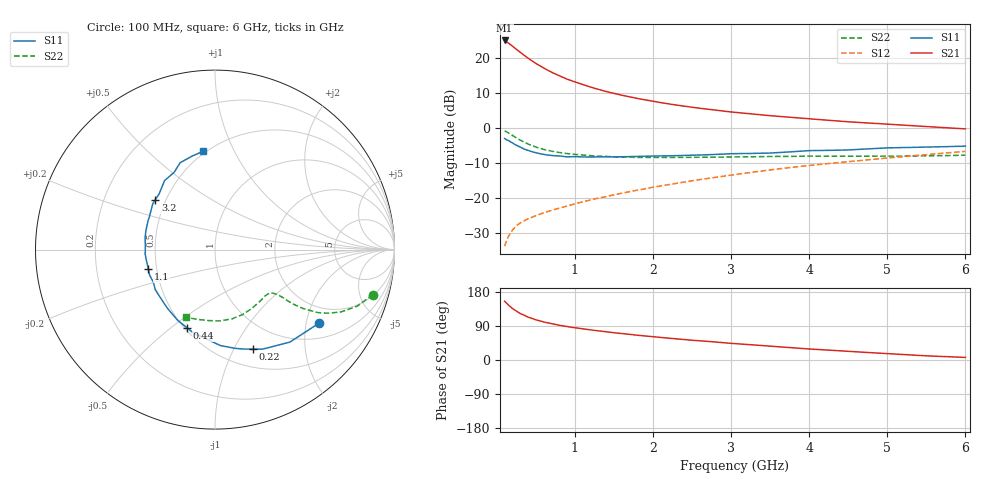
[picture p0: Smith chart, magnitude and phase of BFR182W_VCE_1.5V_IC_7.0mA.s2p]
! Infineon Technologies  Discrete & RF Semiconductors
! BFR182W
! VCE =  1.5 V,  IC =  7.0 mA
! Common Emitter S-Parameters:  Nov 2015
# GHz  S  MA  R  50
!  f  S11  S21  S12  S22
! GHz  MAG  ANG  MAG  ANG  MAG  ANG  MAG  ANG
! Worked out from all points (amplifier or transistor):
!   192 points, 100 MHz to 6 GHz, reference 50 ohm
!   highest |S21| = 25.0 dB at 100 MHz (marker M1)
!   |S21| within 3 dB of that: start of sweep to 278 MHz
!   unconditionally stable (mu >= 1): 1.147 GHz to 2.901 GHz
!   at 440 MHz: K = 0.62, MSG = 22.4 dB, |S12| = -25.5 dB
!   at 1.7 GHz: K = 1.07, MAG = 11.9 dB, |S12| = -18.1 dB
!   at 6 GHz: K = 0.79, MSG = 3.2 dB, |S12| = -6.7 dB
!   S11 on the Smith chart (normalised r, x): 100 MHz: 1.43, -2.37; 220 MHz: 0.70, -1.20; 440 MHz: 0.52, -0.57; 1.1 GHz: 0.45, -0.12; 3.2 GHz: 0.44, +0.30; 6 GHz: 0.48, +0.76
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0.1  0.7096 -35.4  17.7 155.2  0.0207 72.9  0.9155 -15.9
0.15  0.663 -51.0  16.24 144.7  0.0287 67.4  0.8523 -21.7
0.2  0.6149 -64.4  14.73 135.9  0.0351 62.8  0.7856 -26.2
0.22  0.5938 -69.0  14.12 133.2  0.0372 61.2  0.7602 -27.4
0.26  0.5618 -78.4  13.01 127.6  0.0413 58.8  0.7125 -29.8
0.3  0.5357 -86.7  11.97 122.6  0.0444 57.2  0.6715 -31.5
0.4  0.48 -104.4  9.869 113.0  0.0507 55.4  0.5894 -33.8
0.44  0.4632 -109.5  9.23 110.5  0.053 55.2  0.5672 -34.2
0.5  0.4456 -117.8  8.312 106.0  0.0564 54.9  0.5339 -34.8
0.56  0.4287 -124.4  7.605 102.8  0.0598 55.3  0.5103 -35.0
0.6  0.4208 -129.1  7.148 100.4  0.062 55.5  0.4945 -35.2
0.7  0.4065 -138.0  6.232 95.6  0.067 56.3  0.4676 -35.2
0.9  0.3883 -152.3  4.967 88.1  0.0776 58.6  0.4319 -35.5
1.1  0.3873 -163.5  4.166 82.4  0.0888 60.5  0.4117 -36.5
1.2  0.3864 -168.5  3.818 79.3  0.0945 61.2  0.4028 -37.0
1.5  0.3877 -179.5  3.111 72.0  0.1117 63.2  0.3885 -39.3
2.08  0.3999 163.2  2.32 59.9  0.1482 65.2  0.38 -45.3
3.1  0.4316 141.9  1.652 42.5  0.2206 64.5  0.3875 -60.0
3.2  0.4331 140.2  1.612 41.1  0.2287 64.2  0.3883 -61.8
4.1  0.4775 124.5  1.327 27.9  0.3003 60.2  0.3965 -77.9
5.1  0.5235 110.3  1.118 15.5  0.3821 54.3  0.3973 -97.6
6  0.5513 97.1  0.971 6.8  0.4649 48.1  0.4099 -113.2
